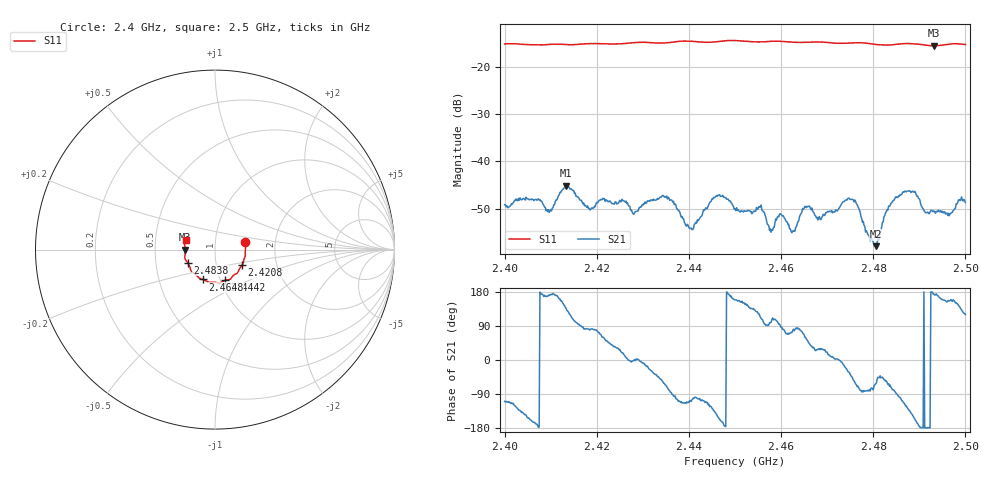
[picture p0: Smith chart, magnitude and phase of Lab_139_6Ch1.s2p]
# Hz S RI R 50
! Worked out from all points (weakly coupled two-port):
!   601 points, 2.4 GHz to 2.5 GHz, reference 50 ohm
!   highest |S21| = -45.12 dB at 2.4133 GHz (marker M1); lowest = -57.8 dB at 2.4805 GHz (marker M2)
!   lowest |S11| = -15.6 dB at 2.4932 GHz (marker M3), VSWR 1.40, Z = 35.8 - j0.0905 ohm
!   |S11| at or under -10 dB: start of sweep to end of sweep
!   S12 and S22 are empty: the file has one direction only
!   S11 on the Smith chart (normalised r, x): 2.4 GHz: 1.40, +0.12; 2.4208 GHz: 1.33, -0.24; 2.4442 GHz: 1.05, -0.37; 2.4648 GHz: 0.83, -0.28; 2.4838 GHz: 0.73, -0.11; 2.5 GHz: 0.72, +0.08
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2.4e9  0.1683 0.0408  -0.00115 -0.00331  0 0  0 0
2.409833e9  0.1694 -0.0272  -0.00298 0.00038  0 0  0 0
2.413333e9  0.1644 -0.046  -0.00401 0.00383  0 0  0 0
2.416667e9  0.1588 -0.0681  4.92e-05 0.0039  0 0  0 0
2.420833e9  0.151 -0.0872  0.00152 0.00368  0 0  0 0
2.428167e9  0.1283 -0.1245  0.00285 3.45e-05  0 0  0 0
2.433333e9  0.1081 -0.1398  0.0029 -0.00277  0 0  0 0
2.4405e9  0.08 -0.1667  -0.000659 -0.00188  0 0  0 0
2.444167e9  0.0567 -0.1709  -0.0016 -0.00301  0 0  0 0
2.45e9  0.0247 -0.1865  -0.00294 0.00115  0 0  0 0
2.458e9  -0.0257 -0.1828  -0.000535 0.00184  0 0  0 0
2.460167e9  -0.0363 -0.1804  0.000188 0.0027  0 0  0 0
2.4625e9  -0.0504 -0.1739  0.000439 0.0018  0 0  0 0
2.464833e9  -0.0682 -0.1665  0.00113 0.00291  0 0  0 0
2.466667e9  -0.0803 -0.1626  0.00262 0.00191  0 0  0 0
2.475667e9  -0.1262 -0.1252  0.00242 -0.00313  0 0  0 0
2.4805e9  -0.1383 -0.1009  0.000578 -0.00114  0 0  0 0
2.483333e9  -0.1503 -0.0761  0.00155 -0.00301  0 0  0 0
2.483833e9  -0.153 -0.072  0.00112 -0.00345  0 0  0 0
2.4885e9  -0.1679 -0.0458  -0.00397 -0.00281  0 0  0 0
2.493167e9  -0.1657 -0.00123  -0.003 0.000306  0 0  0 0
2.5e9  -0.1627 0.0525  -0.00185 0.00319  0 0  0 0
